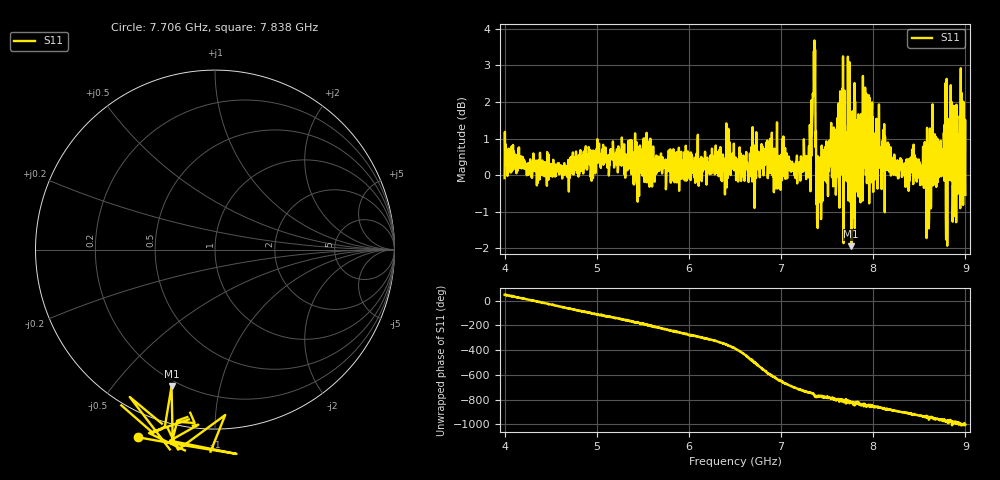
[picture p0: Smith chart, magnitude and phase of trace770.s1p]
! Created with skrf 1.8.0 (http://scikit-rf.org).
# Hz S RI R 50.0
!freq ReS11 ImS11
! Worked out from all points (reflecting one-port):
!   1601 points, 4 GHz to 9 GHz, reference 50 ohm
!   lowest |S11| = -1.9 dB at 7.762 GHz (marker M1), VSWR 8.98, Z = 8.5 - j35.9 ohm
!   phase of S11 starts at 49 deg and turns -1052 deg over the sweep
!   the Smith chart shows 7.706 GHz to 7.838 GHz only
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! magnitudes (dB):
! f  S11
! 4 GHz  -0.1
! 4.625 GHz  -0.1
! 5.25 GHz  0.4
! 5.875 GHz  0.3
! 6.5 GHz  0.4
! 6.875 GHz  0.5
! 7.125 GHz  0.2
! 7.294 GHz  0.0
! 7.347 GHz  2.2
! 7.366 GHz  2.5
! 7.397 GHz  -1.4
! 7.409 GHz  -0.6
! 7.538 GHz  0.7
! 7.591 GHz  0.6
! 7.647 GHz  1.4
! 7.75 GHz  -0.7
! 7.762 GHz  -1.9
! 7.928 GHz  1.7
! 8.022 GHz  0.6
! 8.375 GHz  -0.1
! 8.441 GHz  0.1
! 8.603 GHz  -1.5
! 8.656 GHz  0.7
! 8.812 GHz  1.3
! 8.834 GHz  0.9
! 8.919 GHz  -0.2
! 8.959 GHz  2.2
! 9 GHz  -0.5
